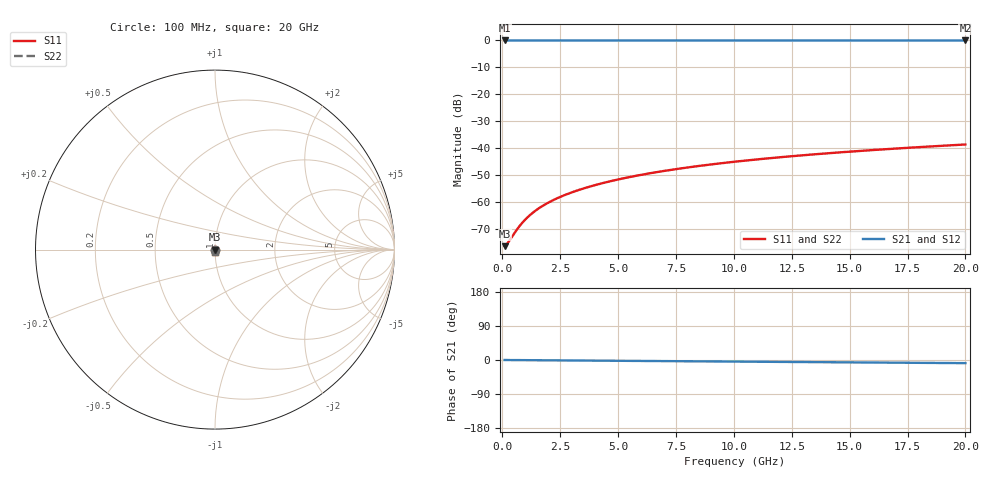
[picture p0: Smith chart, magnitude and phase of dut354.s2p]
! Touchstone file exported from HFSS 2026.1.0
!  File:  C:/ffzhzh/LocalFiles/Ansys_Project_Files/temp_train_TSV_354_1783019182_51716.aedt
!  Generated:  03:07:56 AM Jul  3, 2026
!  Design:  TSV
!  Project:  temp_train_TSV_354_1783019182_51716
! Variables:
!  h_bsmrdl = 2um
!  h_ox = 20um
!  h_rdl = 5um
!  h_sub = 86.18um
!  h_tmrdl = 5um
!  h_tsv = 86.18um
!  h_via = 3um
!  l_bsmrdl = 300um
!  l_sub = 418.8um
!  l_tmrdl = 200um
!  m_sub = 200um
!  pitch = 35.15um
!  r_tsv = 9.4um
!  s_tmrdl = 10um
!  w_bsmrdl = 18um
!  w_sub = 500um
!  w_tmrdl = 12um
!  x_tsv_center1 = 206um
!  x_tsv_center2 = 524um
!  x_tsv_center3 = 736um
!  x_tsv_center4 = 1054um
!  x_tsv_center5 = 1266um
!  x_tsv_center6 = 1584um
# GHz S MA R 50.000000
! Terminal data exported
! Port[1] = TSV1_1_T1
! Port[2] = TSV1_1_T2
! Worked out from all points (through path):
!   200 points, 100 MHz to 20 GHz, reference 50 ohm
!   highest |S21| = 0.00 dB at 100 MHz (marker M1); lowest = 0.0 dB at 20 GHz (marker M2)
!   group delay of S21, straight-line fit = 1.15 ps
!   lowest |S11| = -76.3 dB at 100 MHz (marker M3), VSWR 1.00, Z = 50 - j0.000901 ohm
!   |S11| at or under -10 dB: start of sweep to end of sweep
!   |S22| runs from -76.3 to -38.6 dB; largest |S21 - S12| = 4.2e-15
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0.1  0.0001525 -3.4  0.9998 -0.0  0.9998 -0.0  0.0001525 -3.4
! Gamma 0 0 0 0
! Port Impedance 50 0 50 0
0.2  0.0001674 -7.3  0.9998 -0.1  0.9998 -0.1  0.0001674 -7.3
0.3  0.0001908 -11.9  0.9998 -0.1  0.9998 -0.1  0.0001908 -11.9
0.6  0.0002968 -26.6  0.9997 -0.3  0.9997 -0.3  0.0002968 -26.6
0.8  0.0003849 -35.2  0.9997 -0.3  0.9997 -0.3  0.0003849 -35.2
0.9  0.0004317 -38.9  0.9997 -0.4  0.9997 -0.4  0.0004317 -38.9
1.1  0.0005285 -45.1  0.9996 -0.5  0.9996 -0.5  0.0005285 -45.1
1.4  0.0006785 -52.2  0.9996 -0.6  0.9996 -0.6  0.0006785 -52.2
1.8  0.0008832 -58.8  0.9995 -0.8  0.9995 -0.8  0.0008832 -58.8
2.3  0.001144 -64.1  0.9995 -1.0  0.9995 -1.0  0.001144 -64.1
2.9  0.001464 -68.3  0.9994 -1.2  0.9994 -1.2  0.001464 -68.3
3.5  0.00179 -71.2  0.9994 -1.5  0.9994 -1.5  0.00179 -71.2
4.2  0.00218 -73.6  0.9993 -1.8  0.9993 -1.8  0.00218 -73.6
5  0.002635 -75.7  0.9993 -2.1  0.9993 -2.1  0.002635 -75.7
5.9  0.003156 -77.6  0.9992 -2.5  0.9992 -2.5  0.003156 -77.6
6.8  0.003686 -79.1  0.9991 -2.8  0.9991 -2.8  0.003686 -79.1
8.3  0.00458 -81.3  0.999 -3.5  0.999 -3.5  0.00458 -81.3
10.1  0.005664 -83.4  0.9989 -4.2  0.9989 -4.2  0.005664 -83.4
11.7  0.006633 -84.9  0.9988 -4.9  0.9988 -4.9  0.006633 -84.9
13.4  0.007668 -86.4  0.9987 -5.6  0.9987 -5.6  0.007669 -86.4
16.7  0.009693 -88.9  0.9986 -6.9  0.9986 -6.9  0.009693 -88.9
20  0.01174 -90.9  0.9984 -8.3  0.9984 -8.3  0.01174 -90.9
